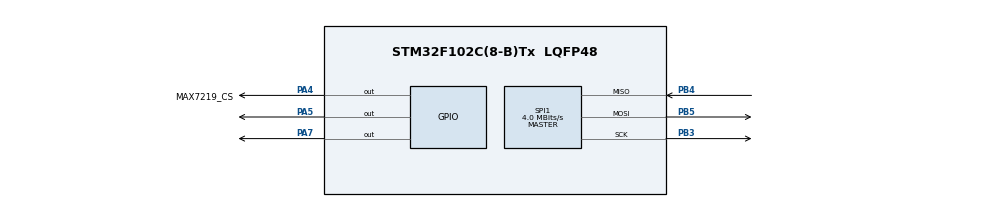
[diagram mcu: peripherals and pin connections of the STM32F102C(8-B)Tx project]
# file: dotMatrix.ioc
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Mcu.Family=STM32F1
Mcu.Name=STM32F102C(8-B)Tx
Mcu.Package=LQFP48
NVIC.PriorityGroup=NVIC_PRIORITYGROUP_4
PA4.GPIO_Label=MAX7219_CS
PA4.Signal=GPIO_Output
PA5.Signal=GPIO_Output
PA7.Signal=GPIO_Output
PB3.Mode=Full_Duplex_Master
PB3.Signal=SPI1_SCK
PB4.Mode=Full_Duplex_Master
PB4.Signal=SPI1_MISO
PB5.Mode=Full_Duplex_Master
PB5.Signal=SPI1_MOSI
PD0-OSC_IN.Mode=HSE-External-Oscillator
PD0-OSC_IN.Signal=RCC_OSC_IN
PD1-OSC_OUT.Mode=HSE-External-Oscillator
PD1-OSC_OUT.Signal=RCC_OSC_OUT
ProjectManager.HeapSize=0x200
ProjectManager.StackSize=0x400
ProjectManager.TargetToolchain=Makefile
RCC.APB1Freq_Value=8000000
RCC.APB2Freq_Value=8000000
SPI1.CLKPhase=SPI_PHASE_2EDGE
SPI1.CLKPolarity=SPI_POLARITY_HIGH
SPI1.CalculateBaudRate=4.0 MBits/s
SPI1.Direction=SPI_DIRECTION_2LINES
SPI1.Mode=SPI_MODE_MASTER
SPI1.VirtualType=VM_MASTER
VP_SYS_VS_ND.Mode=No_Debug
board=custom

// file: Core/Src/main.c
/* USER CODE BEGIN Header */
/**
  ******************************************************************************
  * @file           : main.c
  * @brief          : Main program body
  ******************************************************************************
  * @attention
  *
  * Copyright (c) 2026 STMicroelectronics.
  * All rights reserved.
  *
  * This software is licensed under terms that can be found in the LICENSE file
  * in the root directory of this software component.
  * If no LICENSE file comes with this software, it is provided AS-IS.
  *
  ******************************************************************************
  */
/* USER CODE END Header */
#include "main.h"
#include "driver_max7219_basic.h"
#include <stdio.h>

SPI_HandleTypeDef hspi1;

void SystemClock_Config(void);
static void MX_GPIO_Init(void);
static void MX_SPI1_Init(void);
/* USER CODE BEGIN PFP */
static max7219_handle_t gs_handle;     /* 由 basic.c 持有，但你需要在本文件调底层时 extern */
static const uint8_t Heart_Shape[8] = {
  0x00, 0x66, 0xFF, 0xFF, 0xFF, 0x7E, 0x3C, 0x18
};
static const uint8_t circle1[8] = {
  0x00, 0x00, 0x00, 0x1C, 0x1C, 0x00, 0x00, 0x00
};
static const uint8_t circle2[8] = {
  0x00, 0x00, 0x1C, 0x24, 0x24, 0x1C, 0x00, 0x00
};
static const uint8_t circle3[8] = {
  0x00, 0x1C, 0x24, 0x42, 0x42, 0x24, 0x1C, 0x00
};
void show(const uint8_t pattern[]) {
  for (uint8_t i = 0; i < 8; i++) {
    max7219_basic_set_display((max7219_digital_t)(i+1), (max7219_no_decode_font_t)pattern[i]);
  };
}
/* SPI 自检 */
static void max7219_selftest(void)
{
  /* 1. 关闭所有段（把 8 行都置 0） */
  HAL_GPIO_WritePin(GPIOA, GPIO_PIN_4, GPIO_PIN_RESET);  // CS 低
  for (uint8_t i = 1; i <= 8; i++) {
    uint8_t cmd[2] = { i, 0x00 };
    HAL_SPI_Transmit(&hspi1, cmd, 2, 100);
  }
  /* 2. 关掉显示测试模式（保险起见再写一次） */
  uint8_t test_off[2] = { 0x0F, 0x00 };
  HAL_SPI_Transmit(&hspi1, test_off, 2, 100);
  /* 3. 退出 shutdown */
  uint8_t normal[2] = { 0x0C, 0x01 };
  HAL_SPI_Transmit(&hspi1, normal, 2, 100);
  HAL_GPIO_WritePin(GPIOA, GPIO_PIN_4, GPIO_PIN_SET);    // CS 高

  HAL_Delay(2000);  // 停 2 秒观察

  /* 4. 测试：在第 5 行点亮最右边 3 个点 */
  HAL_GPIO_WritePin(GPIOA, GPIO_PIN_4, GPIO_PIN_RESET);
  uint8_t pattern[2] = { 5, 0x07 };  // 二进制 0000 0111
  HAL_SPI_Transmit(&hspi1, pattern, 2, 100);
  HAL_GPIO_WritePin(GPIOA, GPIO_PIN_4, GPIO_PIN_SET);
}
/* USER CODE END PFP */

int main(void)
{

  /* MCU Configuration--------------------------------------------------------*/

  /* Reset of all peripherals, Initializes the Flash interface and the Systick. */
  HAL_Init();

  /* Configure the system clock */
  SystemClock_Config();

  /* Initialize all configured peripherals */
  MX_GPIO_Init();
  MX_SPI1_Init();
  max7219_basic_init();
  /* USER CODE BEGIN 2 */
  show(Heart_Shape);
  /* USER CODE END 2 */

  /* Infinite loop */
  while (1)
  {

    // show(circle1);
    // HAL_Delay(3000);
    // show(circle2);
    // HAL_Delay(3000);
    // show(circle3);
    // HAL_Delay(3000);
  }
}

void SystemClock_Config(void)
{
  RCC_OscInitTypeDef RCC_OscInitStruct = {0};
  RCC_ClkInitTypeDef RCC_ClkInitStruct = {0};

  /** Initializes the RCC Oscillators according to the specified parameters
  * in the RCC_OscInitTypeDef structure.
  */
  RCC_OscInitStruct.OscillatorType = RCC_OSCILLATORTYPE_HSI;
  RCC_OscInitStruct.HSIState = RCC_HSI_ON;
  RCC_OscInitStruct.HSICalibrationValue = RCC_HSICALIBRATION_DEFAULT;
  RCC_OscInitStruct.PLL.PLLState = RCC_PLL_NONE;
  if (HAL_RCC_OscConfig(&RCC_OscInitStruct) != HAL_OK)
  {
    Error_Handler();
  }

  /** Initializes the CPU, AHB and APB buses clocks
  */
  RCC_ClkInitStruct.ClockType = RCC_CLOCKTYPE_HCLK|RCC_CLOCKTYPE_SYSCLK
                              |RCC_CLOCKTYPE_PCLK1|RCC_CLOCKTYPE_PCLK2;
  RCC_ClkInitStruct.SYSCLKSource = RCC_SYSCLKSOURCE_HSI;
  RCC_ClkInitStruct.AHBCLKDivider = RCC_SYSCLK_DIV1;
  RCC_ClkInitStruct.APB1CLKDivider = RCC_HCLK_DIV1;
  RCC_ClkInitStruct.APB2CLKDivider = RCC_HCLK_DIV1;

  if (HAL_RCC_ClockConfig(&RCC_ClkInitStruct, FLASH_LATENCY_0) != HAL_OK)
  {
    Error_Handler();
  }
}

static void MX_SPI1_Init(void)
{

  /* SPI1 parameter configuration*/
  hspi1.Instance = SPI1;
  hspi1.Init.Mode = SPI_MODE_MASTER;
  hspi1.Init.Direction = SPI_DIRECTION_2LINES;
  hspi1.Init.DataSize = SPI_DATASIZE_8BIT;
  hspi1.Init.CLKPolarity = SPI_POLARITY_LOW;
  hspi1.Init.CLKPhase = SPI_PHASE_1EDGE;
  hspi1.Init.NSS = SPI_NSS_SOFT;
  hspi1.Init.BaudRatePrescaler = SPI_BAUDRATEPRESCALER_2;
  hspi1.Init.FirstBit = SPI_FIRSTBIT_MSB;
  hspi1.Init.TIMode = SPI_TIMODE_DISABLE;
  hspi1.Init.CRCCalculation = SPI_CRCCALCULATION_DISABLE;
  hspi1.Init.CRCPolynomial = 10;
  if (HAL_SPI_Init(&hspi1) != HAL_OK)
  {
    Error_Handler();
  }

}

static void MX_GPIO_Init(void)
{
  GPIO_InitTypeDef GPIO_InitStruct = {0};

  /* GPIO Ports Clock Enable */
  __HAL_RCC_GPIOD_CLK_ENABLE();
  __HAL_RCC_GPIOA_CLK_ENABLE();
  __HAL_RCC_GPIOB_CLK_ENABLE();

  /*Configure GPIO pin Output Level */
  HAL_GPIO_WritePin(GPIOA, MAX7219_CS_Pin|GPIO_PIN_5|GPIO_PIN_7, GPIO_PIN_RESET);

  /*Configure GPIO pins : MAX7219_CS_Pin PA5 PA7 */
  GPIO_InitStruct.Pin = MAX7219_CS_Pin|GPIO_PIN_5|GPIO_PIN_7;
  GPIO_InitStruct.Mode = GPIO_MODE_OUTPUT_PP;
  GPIO_InitStruct.Pull = GPIO_NOPULL;
  GPIO_InitStruct.Speed = GPIO_SPEED_FREQ_LOW;
  HAL_GPIO_Init(GPIOA, &GPIO_InitStruct);

}

void Error_Handler(void)
{
  __disable_irq();
  while (1)
  {
  }
}
